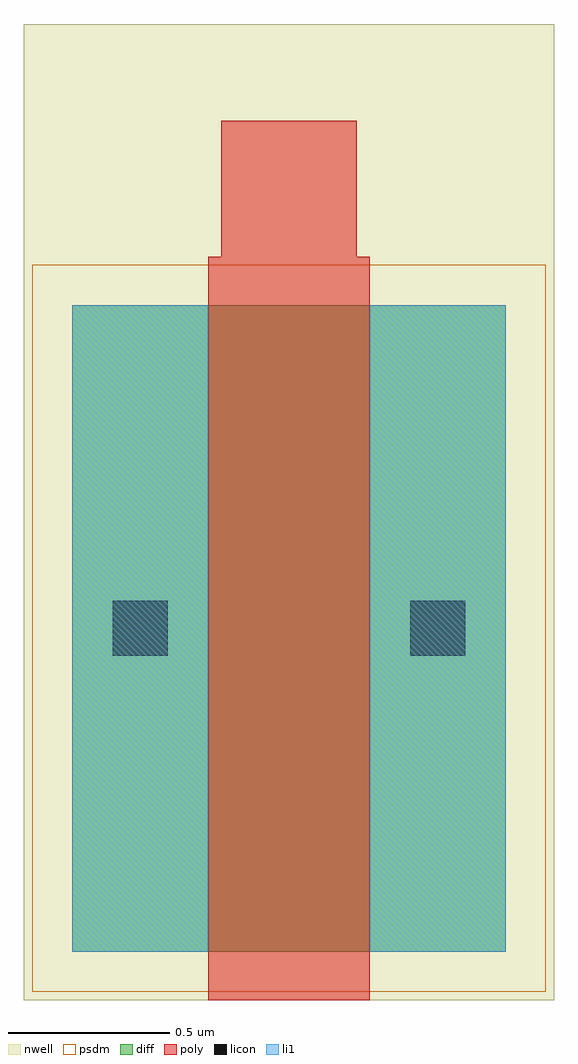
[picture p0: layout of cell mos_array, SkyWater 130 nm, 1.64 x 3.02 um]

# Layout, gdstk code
import gdstk
lib = gdstk.Library(unit=1e-6, precision=1e-09)
def R(c, l, rs):  # rectangles x0, y0, x1, y1
    for r in rs: c.add(gdstk.rectangle(r[:2], r[2:], *l))
nwell = (64, 20)
diff = (65, 20)
poly = (66, 20)
licon = (66, 44)
li1 = (67, 20)
psdm = (94, 20)

mos_array = lib.new_cell('mos_array')
R(mos_array, nwell, [(-0.15,-0.15,1.49,2.87)])
R(mos_array, diff, [(0,0,1.34,2)])
R(mos_array, poly, [(0.42,-0.15,0.92,2), (0.42,2,0.92,2.15), (0.42,2,0.92,2.15), (0.46,2.15,0.88,2.57)])
R(mos_array, licon, [(0.125,0.915,0.295,1.085), (1.045,0.915,1.215,1.085)])
R(mos_array, li1, [(0,0,0.42,2), (0.92,0,1.34,2)])
R(mos_array, psdm, [(-0.125,-0.125,1.465,2.125)])

lib.write_gds('mos_array.gds')
